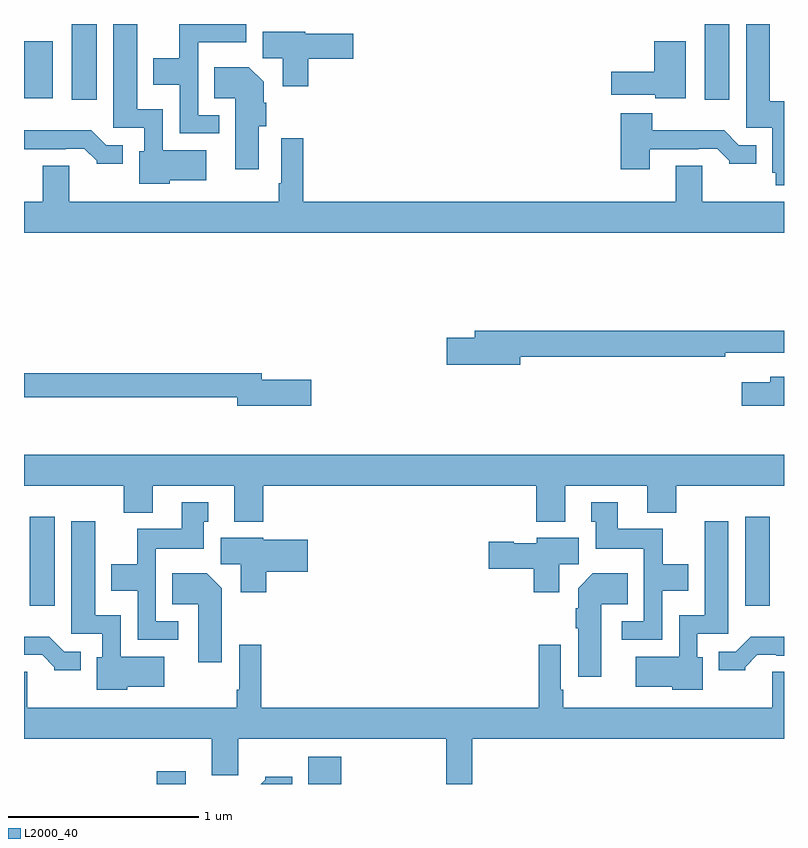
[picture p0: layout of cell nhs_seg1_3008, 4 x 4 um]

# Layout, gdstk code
import gdstk
lib = gdstk.Library(unit=1e-6, precision=1e-09)
def R(c, l, rs):  # rectangles x0, y0, x1, y1
    for r in rs: c.add(gdstk.rectangle(r[:2], r[2:], *l))
def P(c, l, *ps):  # polygons
    for p in ps: c.add(gdstk.Polygon(p, *l))
L2000_40 = (2000, 40)

nhs_seg1_3008 = lib.new_cell('nhs_seg1_3008')
R(nhs_seg1_3008, L2000_40, [(275.699,514.199,275.851,514.267), (276.497,514.199,276.671,514.342), (275.03,515.136,275.161,515.605), (278.795,515.136,278.926,515.605), (275.252,517.8,275.383,518.199), (278.582,517.8,278.713,518.199), (275,517.808,275.152,518.107)])
P(nhs_seg1_3008, L2000_40, [(279,517.792),(278.926,517.792),(278.926,518.199),(278.801,518.199),(278.801,517.653),(278.939,517.653),(278.939,517.416),(278.956,517.416),(278.956,517.35),(279,517.35)],
  [(276.028,517.719),(275.916,517.719),(275.916,518.102),(276.169,518.102),(276.169,518.199),(275.818,518.199),(275.818,518.02),(275.681,518.02),(275.681,517.88),(275.82,517.88),(275.82,517.623),(276.028,517.623)],
  [(275.766,517.376),(275.959,517.376),(275.959,517.534),(275.73,517.534),(275.73,517.75),(275.596,517.75),(275.596,518.199),(275.471,518.199),(275.471,517.653),(275.634,517.653),(275.634,517.53),(275.606,517.53),(275.606,517.358),(275.766,517.358)],
  [(276.497,518.015),(276.733,518.015),(276.733,518.149),(276.48,518.149),(276.48,518.158),(276.257,518.158),(276.257,518.02),(276.362,518.02),(276.362,517.871),(276.497,517.871)],
  [(278.482,518.107),(278.318,518.107),(278.318,517.948),(278.091,517.948),(278.091,517.826),(278.322,517.826),(278.322,517.808),(278.482,517.808)],
  [(276.235,517.662),(276.275,517.662),(276.275,517.784),(276.262,517.784),(276.262,517.894),(276.184,517.972),(276.001,517.972),(276.001,517.808),(276.113,517.808),(276.113,517.434),(276.235,517.434)],
  [(278.293,517.539),(278.549,517.539),(278.549,517.542),(278.648,517.542),(278.712,517.478),(278.712,517.463),(278.854,517.463),(278.854,517.56),(278.763,517.56),(278.685,517.639),(278.306,517.639),(278.306,517.729),(278.141,517.729),(278.141,517.434),(278.293,517.434)],
  [(275.521,517.56),(275.433,517.56),(275.355,517.639),(275,517.639),(275,517.539),(275.219,517.539),(275.219,517.542),(275.318,517.542),(275.382,517.478),(275.382,517.463),(275.521,517.463)],
  [(279,517.264),(278.569,517.264),(278.569,517.454),(278.429,517.454),(278.429,517.264),(276.47,517.264),(276.47,517.597),(276.354,517.597),(276.354,517.36),(276.342,517.36),(276.342,517.264),(275.239,517.264),(275.239,517.454),(275.099,517.454),(275.099,517.264),(275,517.264),(275,517.1),(279,517.1)],
  [(277.612,516.448),(278.69,516.448),(278.69,516.468),(279,516.468),(279,516.584),(277.373,516.584),(277.373,516.548),(277.224,516.548),(277.224,516.406),(277.612,516.406)],
  [(276.511,516.326),(276.25,516.326),(276.25,516.362),(275,516.362),(275,516.234),(276.122,516.234),(276.122,516.191),(276.511,516.191)],
  [(279,516.342),(278.927,516.342),(278.927,516.313),(278.778,516.313),(278.778,516.191),(279,516.191)],
  [(276.26,515.768),(277.697,515.768),(277.697,515.579),(277.849,515.579),(277.849,515.768),(278.279,515.768),(278.279,515.627),(278.432,515.627),(278.432,515.768),(279,515.768),(279,515.932),(275,515.932),(275,515.768),(275.525,515.768),(275.525,515.627),(275.677,515.627),(275.677,515.768),(276.107,515.768),(276.107,515.579),(276.26,515.579)],
  [(275.812,515.055),(275.694,515.055),(275.694,515.438),(275.947,515.438),(275.947,515.58),(275.971,515.58),(275.971,515.683),(275.831,515.683),(275.831,515.542),(275.596,515.542),(275.596,515.356),(275.459,515.356),(275.459,515.216),(275.598,515.216),(275.598,514.959),(275.812,514.959)],
  [(278.358,515.216),(278.497,515.216),(278.497,515.356),(278.361,515.356),(278.361,515.542),(278.125,515.542),(278.125,515.683),(277.985,515.683),(277.985,515.58),(278.009,515.58),(278.009,515.438),(278.262,515.438),(278.262,515.055),(278.145,515.055),(278.145,514.959),(278.358,514.959)],
  [(275.544,514.712),(275.737,514.712),(275.737,514.87),(275.508,514.87),(275.508,515.086),(275.374,515.086),(275.374,515.581),(275.249,515.581),(275.249,514.989),(275.412,514.989),(275.412,514.866),(275.384,514.866),(275.384,514.694),(275.544,514.694)],
  [(278.572,514.866),(278.544,514.866),(278.544,514.989),(278.707,514.989),(278.707,515.581),(278.582,515.581),(278.582,515.086),(278.448,515.086),(278.448,514.87),(278.22,514.87),(278.22,514.712),(278.412,514.712),(278.412,514.694),(278.572,514.694)],
  [(276.275,515.315),(276.493,515.315),(276.493,515.485),(276.258,515.485),(276.258,515.494),(276.035,515.494),(276.035,515.356),(276.14,515.356),(276.14,515.208),(276.275,515.208)],
  [(277.816,515.356),(277.921,515.356),(277.921,515.494),(277.698,515.494),(277.698,515.467),(277.578,515.467),(277.578,515.475),(277.446,515.475),(277.446,515.333),(277.682,515.333),(277.682,515.208),(277.816,515.208)],
  [(276.04,515.23),(275.962,515.308),(275.779,515.308),(275.779,515.144),(275.918,515.144),(275.918,514.839),(276.04,514.839)],
  [(278.038,515.144),(278.177,515.144),(278.177,515.308),(277.994,515.308),(277.916,515.23),(277.916,515.123),(277.904,515.123),(277.904,515.02),(277.916,515.02),(277.916,514.764),(278.038,514.764)],
  [(278.796,514.814),(278.86,514.878),(278.959,514.878),(278.959,514.875),(279,514.875),(279,514.975),(278.824,514.975),(278.745,514.896),(278.657,514.896),(278.657,514.799),(278.796,514.799)],
  [(275.299,514.896),(275.211,514.896),(275.133,514.975),(275,514.975),(275,514.878),(275.096,514.878),(275.16,514.814),(275.16,514.799),(275.299,514.799)],
  [(275,514.79),(275,514.436),(275.987,514.436),(275.987,514.246),(276.127,514.246),(276.127,514.436),(277.222,514.436),(277.222,514.199),(277.358,514.199),(277.358,514.436),(279,514.436),(279,514.79),(278.939,514.79),(278.939,514.6),(277.837,514.6),(277.837,514.696),(277.824,514.696),(277.824,514.933),(277.708,514.933),(277.708,514.6),(276.248,514.6),(276.248,514.933),(276.132,514.933),(276.132,514.696),(276.12,514.696),(276.12,514.6),(275.017,514.6),(275.017,514.79)],
  [(276.412,514.237),(276.27,514.237),(276.27,514.222),(276.247,514.199),(276.412,514.199)])

lib.write_gds('nhs_seg1_3008.gds')
